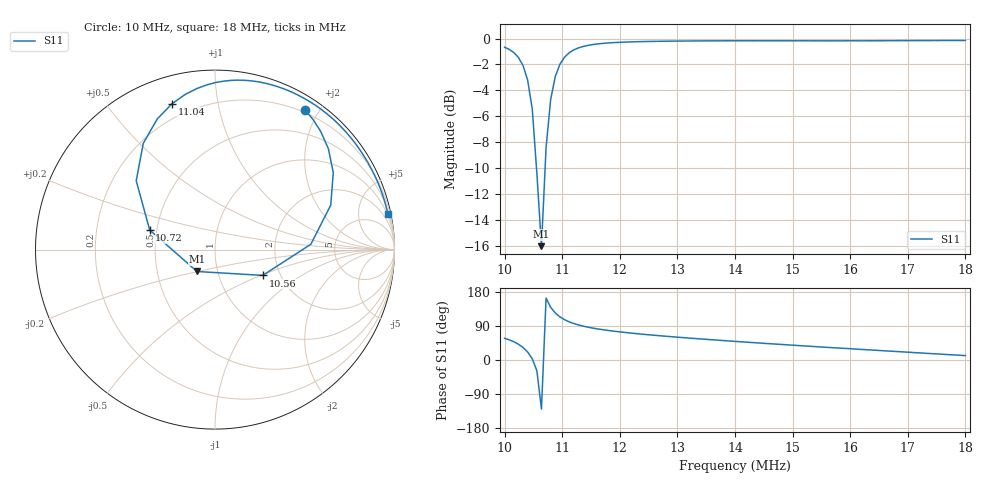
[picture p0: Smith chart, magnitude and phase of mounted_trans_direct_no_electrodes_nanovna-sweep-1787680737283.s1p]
! NanoVNA Web complex sweep
! Processing: original sample grid, no browser smoothing
# Hz S RI R 50
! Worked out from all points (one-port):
!   101 points, 10 MHz to 18 MHz, reference 50 ohm
!   lowest |S11| = -16.0 dB at 10.64 MHz (marker M1), VSWR 1.38, Z = 39.8 - j9.96 ohm
!   |S11| at or under -10 dB: 10.55 MHz to 10.7 MHz (149.5 kHz wide, 1.41 % of centre)
!   S11 on the Smith chart (normalised r, x): 10 MHz: 0.17, +1.82; 10.56 MHz: 1.62, -0.51; 10.72 MHz: 0.46, +0.12; 11.04 MHz: 0.13, +0.74; 18 MHz: 0.82, +9.76
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1e7  0.5009 0.7782
1.008e7  0.5445 0.7274
1.016e7  0.5893 0.6576
1.024e7  0.6316 0.562
1.032e7  0.659 0.4291
1.04e7  0.6449 0.2479
1.048e7  0.5339 0.0297
1.056e7  0.2662 -0.1437
1.064e7  -0.1003 -0.122
1.072e7  -0.3638 0.1092
1.08e7  -0.4389 0.3833
1.088e7  -0.3997 0.5919
1.096e7  -0.3218 0.7278
1.104e7  -0.2398 0.8124
1.112e7  -0.1651 0.8652
1.12e7  -0.0992 0.8982
1.128e7  -0.0424 0.9188
1.144e7  0.0514 0.9388
1.168e7  0.1577 0.9436
1.2e7  0.2635 0.9305
1.248e7  0.3829 0.896
1.304e7  0.4923 0.8451
1.352e7  0.5716 0.7953
1.4e7  0.6412 0.7419
1.504e7  0.7647 0.6132
1.6e7  0.8513 0.4873
1.704e7  0.9214 0.3396
1.8e7  0.9631 0.1981
